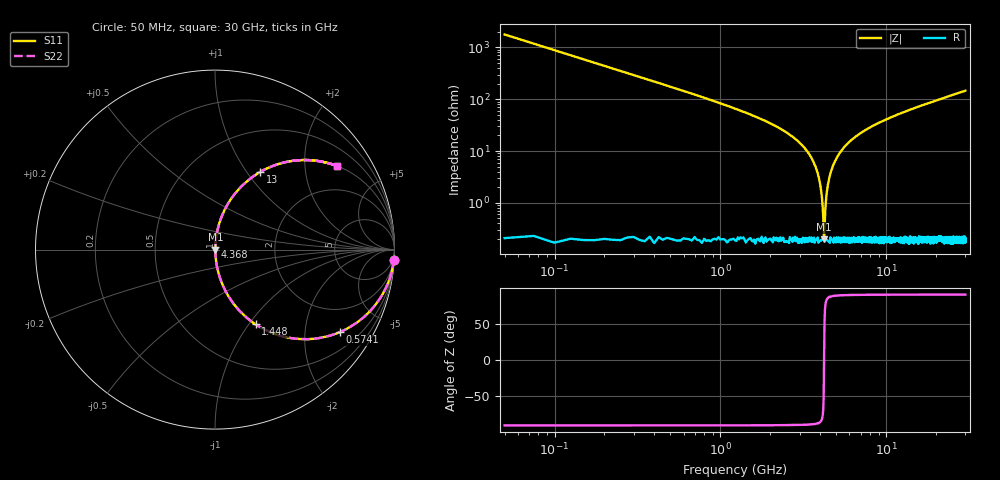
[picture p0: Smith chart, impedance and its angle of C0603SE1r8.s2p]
!	AVX Thin Film Operation 	Date: April 2014
!	Description: Accu-P® Series, Thin Film  SMD RF Capacitor
!	Part Number: 06031J1R8PBSTR
# MHZ S MA R 50
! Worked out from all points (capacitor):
!   1201 points, 50 MHz to 30 GHz, reference 50 ohm
!   read as one part in series: C = 1.8 pF near 199.8 MHz
!   lowest |Z| = 197 mohm at 4.218 GHz (marker M1)
!   series resonance near 4.218 GHz, so ESL is about 790 pH
!   S11 on the Smith chart (normalised r, x): 50 MHz: 1, -35; 574.1 MHz: 1.00, -3.02; 1.448 GHz: 1.00, -1.08; 4.368 GHz: 1.00, +0.03; 13 GHz: 1.00, +1.16; 30 GHz: 1.00, +2.92
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50  0.998 -3.2  0.056 86.8  0.056 86.8  0.998 -3.2
299.583  0.946 -18.8  0.322 71.2  0.322 71.2  0.946 -18.8
574.125  0.834 -33.5  0.551 56.5  0.551 56.5  0.834 -33.5
1447.667  0.474 -61.5  0.879 28.3  0.879 28.3  0.474 -61.5
2720.542  0.186 -78.7  0.981 10.7  0.981 10.7  0.186 -78.7
3469.292  0.082 -83.9  0.995 4.7  0.995 4.7  0.082 -83.9
3868.625  0.036 -84.9  0.997 2.1  0.997 2.1  0.036 -84.9
3993.417  0.023 -83.9  0.998 1.3  0.998 1.3  0.023 -83.9
4118.208  0.01 -78.5  0.998 0.6  0.998 0.6  0.01 -78.5
4218.042  0.001937 0.4  0.998 -0.0  0.998 -0.0  0.001937 0.4
4367.792  0.015 81.6  0.998 -0.8  0.998 -0.8  0.015 81.6
4467.625  0.024 84.0  0.998 -1.4  0.998 -1.4  0.024 84.0
4592.417  0.036 84.8  0.997 -2.0  0.997 -2.0  0.036 84.8
5041.667  0.075 84.2  0.995 -4.3  0.995 -4.3  0.075 84.2
5715.542  0.128 81.8  0.99 -7.4  0.99 -7.4  0.128 81.8
6738.833  0.199 78.0  0.978 -11.5  0.978 -11.5  0.199 78.0
10058.29  0.38 67.4  0.923 -22.4  0.923 -22.4  0.38 67.4
13003.38  0.5 59.8  0.864 -30.0  0.864 -30.0  0.5 59.8
15025  0.566 55.4  0.823 -34.5  0.823 -34.5  0.566 55.4
20016.67  0.688 46.4  0.724 -43.5  0.724 -43.5  0.688 46.4
25033.29  0.77 39.6  0.637 -50.3  0.637 -50.3  0.77 39.6
30000  0.825 34.4  0.564 -55.6  0.564 -55.6  0.825 34.4
